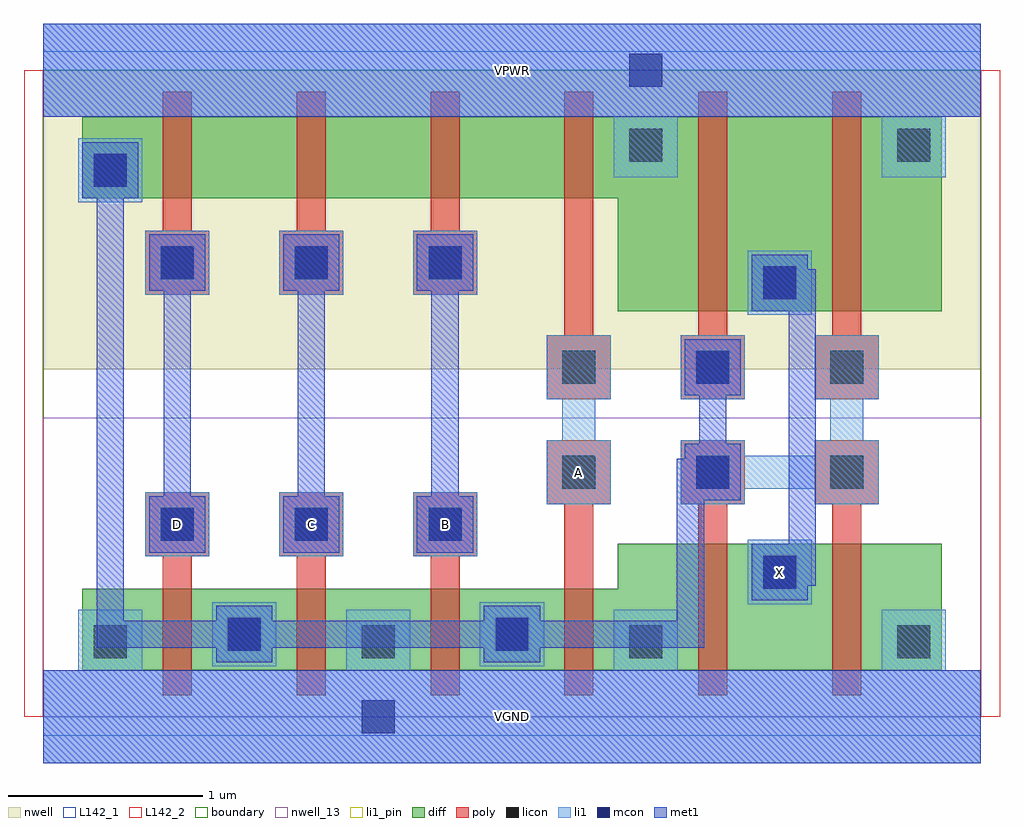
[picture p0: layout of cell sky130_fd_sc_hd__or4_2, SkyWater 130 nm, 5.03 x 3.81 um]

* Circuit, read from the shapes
.subckt sky130_fd_sc_hd__or4_2 A B C D VGND VPWR X
XM1 n1 D VGND VSUBS sky130_fd_pr__nfet_01v8 w=0.42 l=0.15
XM2 VGND C n1 VSUBS sky130_fd_pr__nfet_01v8 w=0.42 l=0.15
XM3 n1 B VGND VSUBS sky130_fd_pr__nfet_01v8 w=0.42 l=0.15
XM4 VGND A n1 VSUBS sky130_fd_pr__nfet_01v8 w=0.42 l=0.15
XM5 X n1 VGND VSUBS sky130_fd_pr__nfet_01v8 w=0.65 l=0.15 m=2
XM6 n2 D n1 n3 sky130_fd_pr__pfet_01v8 w=0.42 l=0.15
XM7 n4 C n2 n3 sky130_fd_pr__pfet_01v8 w=0.42 l=0.15
XM8 n5 B n4 n3 sky130_fd_pr__pfet_01v8 w=0.42 l=0.15
XM9 VPWR A n5 n3 sky130_fd_pr__pfet_01v8 w=0.42 l=0.15
XM10 X n1 VPWR n3 sky130_fd_pr__pfet_01v8 w=1 l=0.15 m=2
.ends

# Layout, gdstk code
import gdstk
lib = gdstk.Library(unit=1e-6, precision=1e-09)
def R(c, l, rs):  # rectangles x0, y0, x1, y1
    for r in rs: c.add(gdstk.rectangle(r[:2], r[2:], *l))
def A(c, l, x, y, w, h, nx, ny, dx, dy):  # array of equal rectangles
    R(c, l, [(x+i*dx, y+j*dy, x+i*dx+w, y+j*dy+h) for i in range(nx) for j in range(ny)])
def P(c, l, *ps):  # polygons
    for p in ps: c.add(gdstk.Polygon(p, *l))
nwell_13 = (64, 13)
nwell = (64, 20)
diff = (65, 20)
poly = (66, 20)
licon = (66, 44)
li1_pin = (67, 16)
li1 = (67, 20)
mcon = (67, 44)
met1 = (68, 20)
L142_1 = (142, 1)
L142_2 = (142, 2)
boundary = (235, 4)

sky130_fd_sc_hd__or4_2 = lib.new_cell('sky130_fd_sc_hd__or4_2')
R(sky130_fd_sc_hd__or4_2, nwell_13, [(0,0,4.83,1.54)])
R(sky130_fd_sc_hd__or4_2, nwell, [(0,1.79,4.83,3.33)])
A(sky130_fd_sc_hd__or4_2, diff, 0.615, 0.24, 0.69, 0.42, 3, 2, 0.69, 2.43)
R(sky130_fd_sc_hd__or4_2, diff, [(0.2,0.24,0.615,0.66), (3.375,0.24,4.065,0.89), (4.065,0.24,4.63,0.89), (3.375,2.09,4.065,3.09), (4.065,2.09,4.63,3.09), (0.2,2.67,0.615,3.09)])
P(sky130_fd_sc_hd__or4_2, diff, [(0.2,0.24),(0.2,0.66),(2.96,0.66),(2.96,0.89),(4.63,0.89),(4.63,0.24)],
  [(2.685,0.24),(2.685,0.66),(2.96,0.66),(2.96,0.89),(3.375,0.89),(3.375,0.24)],
  [(2.96,2.09),(2.96,2.67),(0.2,2.67),(0.2,3.09),(4.63,3.09),(4.63,2.09)],
  [(2.96,2.09),(2.96,2.67),(2.685,2.67),(2.685,3.09),(3.375,3.09),(3.375,2.09)])
P(sky130_fd_sc_hd__or4_2, poly, [(1.995,0.11),(1.995,0.825),(1.905,0.825),(1.905,1.155),(2.235,1.155),(2.235,0.825),(2.145,0.825),(2.145,0.11)],
  [(1.905,2.175),(1.905,2.505),(1.995,2.505),(1.995,3.22),(2.145,3.22),(2.145,2.505),(2.235,2.505),(2.235,2.175)],
  [(3.375,0.11),(3.375,1.095),(3.285,1.095),(3.285,1.425),(3.615,1.425),(3.615,1.095),(3.525,1.095),(3.525,0.11)],
  [(4.065,0.11),(4.065,1.095),(3.975,1.095),(3.975,1.425),(4.305,1.425),(4.305,1.095),(4.215,1.095),(4.215,0.11)],
  [(3.285,1.635),(3.285,1.965),(3.375,1.965),(3.375,3.22),(3.525,3.22),(3.525,1.965),(3.615,1.965),(3.615,1.635)],
  [(3.975,1.635),(3.975,1.965),(4.065,1.965),(4.065,3.22),(4.215,3.22),(4.215,1.965),(4.305,1.965),(4.305,1.635)],
  [(0.615,0.11),(0.615,0.825),(0.525,0.825),(0.525,1.155),(0.855,1.155),(0.855,0.825),(0.765,0.825),(0.765,0.11)],
  [(0.525,2.175),(0.525,2.505),(0.615,2.505),(0.615,3.22),(0.765,3.22),(0.765,2.505),(0.855,2.505),(0.855,2.175)],
  [(1.305,0.11),(1.305,0.825),(1.215,0.825),(1.215,1.155),(1.545,1.155),(1.545,0.825),(1.455,0.825),(1.455,0.11)],
  [(1.215,2.175),(1.215,2.505),(1.305,2.505),(1.305,3.22),(1.455,3.22),(1.455,2.505),(1.545,2.505),(1.545,2.175)],
  [(2.685,0.11),(2.685,1.095),(2.595,1.095),(2.595,1.425),(2.925,1.425),(2.925,1.095),(2.835,1.095),(2.835,0.11)],
  [(2.595,1.635),(2.595,1.965),(2.685,1.965),(2.685,3.22),(2.835,3.22),(2.835,1.965),(2.925,1.965),(2.925,1.635)])
A(sky130_fd_sc_hd__or4_2, licon, 0.26, 0.3, 0.17, 0.17, 4, 1, 1.38, 0)
A(sky130_fd_sc_hd__or4_2, licon, 0.605, 0.905, 0.17, 0.17, 3, 2, 0.69, 1.35)
A(sky130_fd_sc_hd__or4_2, licon, 2.675, 1.175, 0.17, 0.17, 3, 2, 0.69, 0.54)
R(sky130_fd_sc_hd__or4_2, licon, [(0.95,0.34,1.12,0.51), (2.33,0.34,2.5,0.51), (3.71,0.66,3.88,0.83), (3.71,2.15,3.88,2.32), (0.26,2.73,0.43,2.9), (3.02,2.86,3.19,3.03), (4.4,2.86,4.57,3.03)])
A(sky130_fd_sc_hd__or4_2, li1_pin, 0.525, 0.825, 0.33, 0.33, 3, 1, 0.69, 0)
R(sky130_fd_sc_hd__or4_2, li1_pin, [(0,-0.24,4.83,0.24), (3.63,0.58,3.96,0.91), (0,3.09,4.83,3.57)])
P(sky130_fd_sc_hd__or4_2, li1_pin, [(2.595,1.095),(2.595,1.425),(2.675,1.425),(2.675,1.635),(2.595,1.635),(2.595,1.965),(2.925,1.965),(2.925,1.635),(2.845,1.635),(2.845,1.425),(2.925,1.425),(2.925,1.095)])
A(sky130_fd_sc_hd__or4_2, li1, 0.525, 0.825, 0.33, 0.33, 3, 2, 0.69, 1.35)
R(sky130_fd_sc_hd__or4_2, li1, [(0.87,0.26,1.2,0.59), (2.25,0.26,2.58,0.59), (3.63,0.58,3.96,0.91), (3.285,1.635,3.615,1.965), (3.63,2.07,3.96,2.4), (0.18,2.65,0.51,2.98)])
P(sky130_fd_sc_hd__or4_2, li1, [(3.285,1.095),(3.285,1.425),(3.615,1.425),(3.615,1.345),(3.975,1.345),(3.975,1.425),(4.055,1.425),(4.055,1.635),(3.975,1.635),(3.975,1.965),(4.305,1.965),(4.305,1.635),(4.225,1.635),(4.225,1.425),(4.305,1.425),(4.305,1.095),(3.975,1.095),(3.975,1.175),(3.615,1.175),(3.615,1.095)],
  [(2.94,2.78),(2.94,3.09),(0,3.09),(0,3.57),(4.83,3.57),(4.83,3.09),(4.65,3.09),(4.65,2.78),(4.32,2.78),(4.32,3.09),(3.27,3.09),(3.27,2.78)],
  [(0,-0.24),(0,0.24),(0.18,0.24),(0.18,0.55),(0.51,0.55),(0.51,0.24),(1.56,0.24),(1.56,0.55),(1.89,0.55),(1.89,0.24),(2.94,0.24),(2.94,0.55),(3.27,0.55),(3.27,0.24),(4.32,0.24),(4.32,0.55),(4.65,0.55),(4.65,0.24),(4.83,0.24),(4.83,-0.24)],
  [(2.595,1.095),(2.595,1.425),(2.675,1.425),(2.675,1.635),(2.595,1.635),(2.595,1.965),(2.925,1.965),(2.925,1.635),(2.845,1.635),(2.845,1.425),(2.925,1.425),(2.925,1.095)])
A(sky130_fd_sc_hd__or4_2, mcon, 0.605, 0.905, 0.17, 0.17, 3, 2, 0.69, 1.35)
R(sky130_fd_sc_hd__or4_2, mcon, [(1.64,-0.085,1.81,0.085), (0.95,0.34,1.12,0.51), (2.33,0.34,2.5,0.51), (3.71,0.66,3.88,0.83), (3.365,1.175,3.535,1.345), (3.365,1.715,3.535,1.885), (3.71,2.15,3.88,2.32), (0.26,2.73,0.43,2.9), (3.02,3.245,3.19,3.415)])
R(sky130_fd_sc_hd__or4_2, met1, [(0,-0.24,4.83,0.24), (0,3.09,4.83,3.57)])
P(sky130_fd_sc_hd__or4_2, met1, [(1.925,0.845),(1.925,1.135),(2,1.135),(2,2.195),(1.925,2.195),(1.925,2.485),(2.215,2.485),(2.215,2.195),(2.14,2.195),(2.14,1.135),(2.215,1.135),(2.215,0.845)],
  [(0.89,0.28),(0.89,0.355),(0.275,0.355),(0.275,2.67),(0.2,2.67),(0.2,2.96),(0.49,2.96),(0.49,2.67),(0.415,2.67),(0.415,0.495),(0.89,0.495),(0.89,0.57),(1.18,0.57),(1.18,0.495),(2.27,0.495),(2.27,0.57),(2.56,0.57),(2.56,0.495),(3.265,0.495),(3.265,1.33),(3.305,1.33),(3.305,1.405),(3.38,1.405),(3.38,1.655),(3.305,1.655),(3.305,1.945),(3.595,1.945),(3.595,1.655),(3.52,1.655),(3.52,1.405),(3.595,1.405),(3.595,1.115),(3.405,1.115),(3.405,0.355),(2.56,0.355),(2.56,0.28),(2.27,0.28),(2.27,0.355),(1.18,0.355),(1.18,0.28)],
  [(0.545,0.845),(0.545,1.135),(0.62,1.135),(0.62,2.195),(0.545,2.195),(0.545,2.485),(0.835,2.485),(0.835,2.195),(0.76,2.195),(0.76,1.135),(0.835,1.135),(0.835,0.845)],
  [(1.235,0.845),(1.235,1.135),(1.31,1.135),(1.31,2.195),(1.235,2.195),(1.235,2.485),(1.525,2.485),(1.525,2.195),(1.45,2.195),(1.45,1.135),(1.525,1.135),(1.525,0.845)],
  [(3.65,0.6),(3.65,0.89),(3.84,0.89),(3.84,2.09),(3.65,2.09),(3.65,2.38),(3.94,2.38),(3.94,2.305),(3.98,2.305),(3.98,0.675),(3.94,0.675),(3.94,0.6)])
R(sky130_fd_sc_hd__or4_2, L142_1, [(0,-0.1,4.83,0), (0,3.33,4.83,3.43)])
R(sky130_fd_sc_hd__or4_2, L142_2, [(-0.1,0,0,3.33), (4.83,0,4.93,3.33)])
R(sky130_fd_sc_hd__or4_2, boundary, [(0,0,4.83,3.33)])
sky130_fd_sc_hd__or4_2.add(gdstk.Label('X', (3.795,0.745), layer=67, texttype=5))
sky130_fd_sc_hd__or4_2.add(gdstk.Label('D', (0.69,0.99), layer=67, texttype=5))
sky130_fd_sc_hd__or4_2.add(gdstk.Label('C', (1.38,0.99), layer=67, texttype=5))
sky130_fd_sc_hd__or4_2.add(gdstk.Label('B', (2.07,0.99), layer=67, texttype=5))
sky130_fd_sc_hd__or4_2.add(gdstk.Label('A', (2.76,1.26), layer=67, texttype=5))
sky130_fd_sc_hd__or4_2.add(gdstk.Label('VGND', (2.415,0), layer=67, texttype=5))
sky130_fd_sc_hd__or4_2.add(gdstk.Label('VPWR', (2.415,3.33), layer=67, texttype=5))
sky130_fd_sc_hd__or4_2.add(gdstk.Label('VGND', (2.415,0), layer=68, texttype=5))
sky130_fd_sc_hd__or4_2.add(gdstk.Label('VPWR', (2.415,3.33), layer=68, texttype=5))

lib.write_gds('sky130_fd_sc_hd__or4_2.gds')
